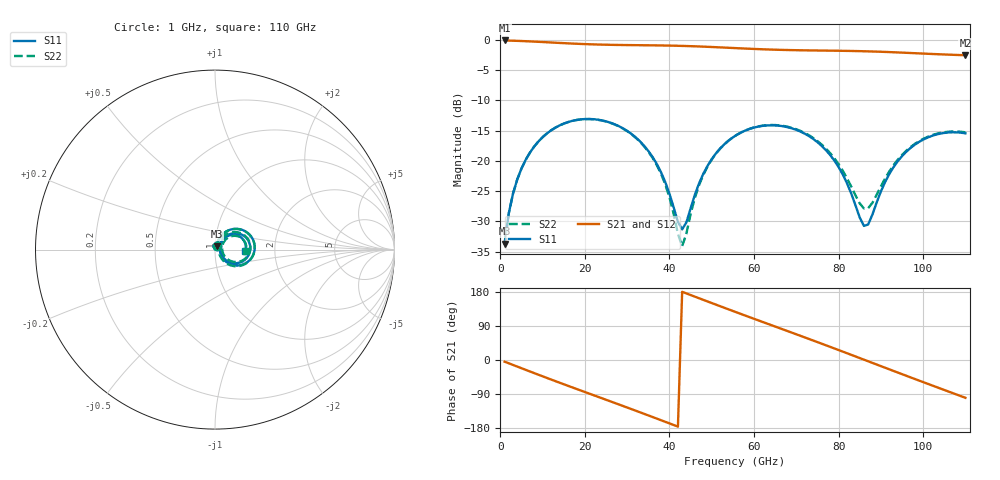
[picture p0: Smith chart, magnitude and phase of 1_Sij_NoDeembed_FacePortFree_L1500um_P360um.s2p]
! Touchstone file exported from HFSS 2024.2.0
!  File:  C:/Users/vaintrug/Documents/Ansoft_Workspace/Comparaison_Calculs_HFSS/1_VarPort.aedt
!  Generated:  03:22:17 PM Jan 21, 2025
!  Design:  1_NoDeembed_FacePortFree
!  Project:  1_VarPort
!  Setup:  Setup1
!  Solution:  Sweep
! Variables:
!  $Lenght = 1500um
!  $PortSize = 360um
!  Gap = 30um
!  Th = 2um
!  X_centralStrip = 20um
!  X_masse = 200um
!  Y_Sub = 1.5mm
!  Z_Box = 400um
!  Z_Sub = 200um
# GHz S MA R 50.000000
! Terminal data exported
! Port[1] = 1
! Port[2] = 2
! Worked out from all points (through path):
!   110 points, 1 GHz to 110 GHz, reference 50 ohm
!   highest |S21| = -0.10 dB at 1 GHz (marker M1); lowest = -2.5 dB at 110 GHz (marker M2)
!   group delay of S21, straight-line fit = 11.6 ps
!   lowest |S11| = -33.7 dB at 1 GHz (marker M3), VSWR 1.04, Z = 50.9 + j1.88 ohm
!   |S11| at or under -10 dB: start of sweep to end of sweep
!   |S22| runs from -34.1 to -13.1 dB; largest |S21 - S12| = 1.6e-14
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1  0.02073 62.6  0.9891 -4.4  0.9891 -4.4  0.02073 62.6
! Gamma 5.91105032132921 49.8771502579959 6.14369545970239 50.4942494569585
! Port Impedance 50 0 50 0
3  0.05383 70.1  0.9842 -13.1  0.9842 -13.1  0.05383 70.0
7  0.1173 58.7  0.9715 -30.3  0.9715 -30.3  0.1173 58.4
14  0.1964 31.7  0.9435 -59.9  0.9435 -59.9  0.1962 31.2
20  0.2218 8.6  0.923 -84.5  0.923 -84.5  0.2214 7.8
29  0.1859 -24.4  0.9069 -121.3  0.9069 -121.3  0.185 -26.0
34  0.1334 -40.6  0.9029 -142.1  0.9029 -142.1  0.132 -43.2
38  0.08063 -48.4  0.8993 -158.9  0.8993 -158.9  0.07824 -53.1
43  0.02719 1.4  0.8917 179.9  0.8917 179.9  0.01975 2.7
46  0.05246 48.9  0.8848 167.2  0.8848 167.2  0.04953 56.9
48  0.07827 51.9  0.8793 158.7  0.8793 158.7  0.07665 57.6
52  0.1269 44.3  0.8669 141.9  0.8669 141.9  0.1264 47.9
56  0.1648 32.0  0.8538 125.2  0.8538 125.2  0.1649 34.9
65  0.1966 1.2  0.8296 88.3  0.8296 88.3  0.1979 3.8
74  0.1519 -28.9  0.8178 51.4  0.8178 51.4  0.1548 -25.1
80  0.08902 -43.6  0.813 26.3  0.813 26.3  0.09403 -37.2
86  0.02903 -5.3  0.8055 0.9  0.8055 0.9  0.04046 -3.8
87  0.02982 17.4  0.8037 -3.4  0.8037 -3.4  0.04067 11.6
92  0.07797 50.2  0.7928 -24.6  0.7928 -24.6  0.08186 43.2
96  0.1189 42.8  0.782 -41.5  0.782 -41.5  0.1213 38.5
101  0.1556 27.9  0.7679 -62.5  0.7679 -62.5  0.1577 25.4
110  0.169 -2.1  0.7469 -99.7  0.7469 -99.7  0.1723 -2.3
